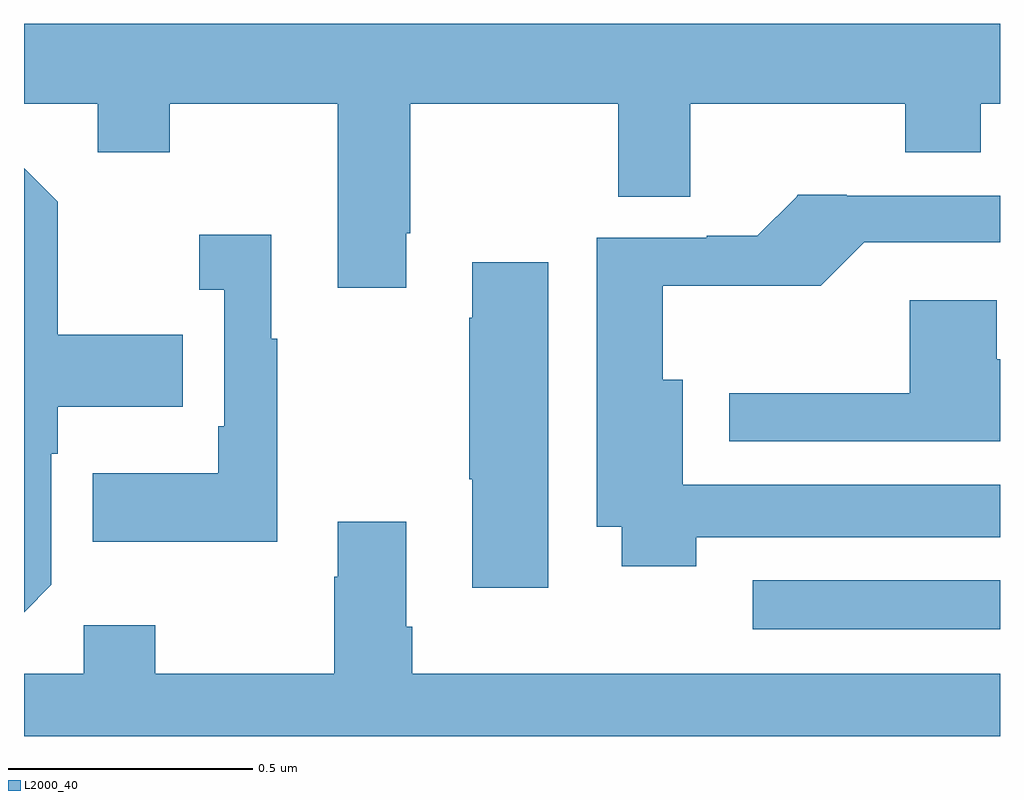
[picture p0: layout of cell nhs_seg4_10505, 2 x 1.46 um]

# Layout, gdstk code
import gdstk
lib = gdstk.Library(unit=1e-6, precision=1e-09)
def R(c, l, rs):  # rectangles x0, y0, x1, y1
    for r in rs: c.add(gdstk.rectangle(r[:2], r[2:], *l))
def P(c, l, *ps):  # polygons
    for p in ps: c.add(gdstk.Polygon(p, *l))
L2000_40 = (2000, 40)

nhs_seg4_10505 = lib.new_cell('nhs_seg4_10505')
R(nhs_seg4_10505, L2000_40, [(242.493,753.119,243,753.22)])
P(nhs_seg4_10505, L2000_40, [(241.783,753.931),(241.791,753.931),(241.791,754.196),(242.218,754.196),(242.218,754.006),(242.365,754.006),(242.365,754.196),(242.806,754.196),(242.806,754.097),(242.961,754.097),(242.961,754.196),(243,754.196),(243,754.36),(241,754.36),(241,754.196),(241.151,754.196),(241.151,754.097),(241.299,754.097),(241.299,754.196),(241.643,754.196),(241.643,753.819),(241.783,753.819)],
  [(241.056,753.21),(241.056,753.479),(241.069,753.479),(241.069,753.575),(241.325,753.575),(241.325,753.723),(241.069,753.723),(241.069,753.995),(241,754.064),(241,753.154)],
  [(242.378,753.308),(243,753.308),(243,753.415),(242.35,753.415),(242.35,753.631),(242.309,753.631),(242.309,753.823),(242.633,753.823),(242.722,753.912),(243,753.912),(243,754.008),(242.686,754.008),(242.686,754.01),(242.586,754.01),(242.582,754.005),(242.503,753.926),(242.399,753.926),(242.399,753.921),(242.174,753.921),(242.174,753.329),(242.225,753.329),(242.225,753.248),(242.378,753.248)],
  [(241.519,753.715),(241.507,753.715),(241.507,753.928),(241.359,753.928),(241.359,753.815),(241.41,753.815),(241.41,753.535),(241.398,753.535),(241.398,753.439),(241.141,753.439),(241.141,753.299),(241.519,753.299)],
  [(242.074,753.871),(241.919,753.871),(241.919,753.758),(241.912,753.758),(241.912,753.427),(241.919,753.427),(241.919,753.204),(242.074,753.204)],
  [(243,753.673),(242.993,753.673),(242.993,753.793),(242.815,753.793),(242.815,753.603),(242.445,753.603),(242.445,753.504),(243,753.504)],
  [(243,753.028),(241.796,753.028),(241.796,753.124),(241.783,753.124),(241.783,753.34),(241.643,753.34),(241.643,753.227),(241.636,753.227),(241.636,753.028),(241.269,753.028),(241.269,753.127),(241.122,753.127),(241.122,753.028),(241,753.028),(241,752.9),(243,752.9)])

lib.write_gds('nhs_seg4_10505.gds')
